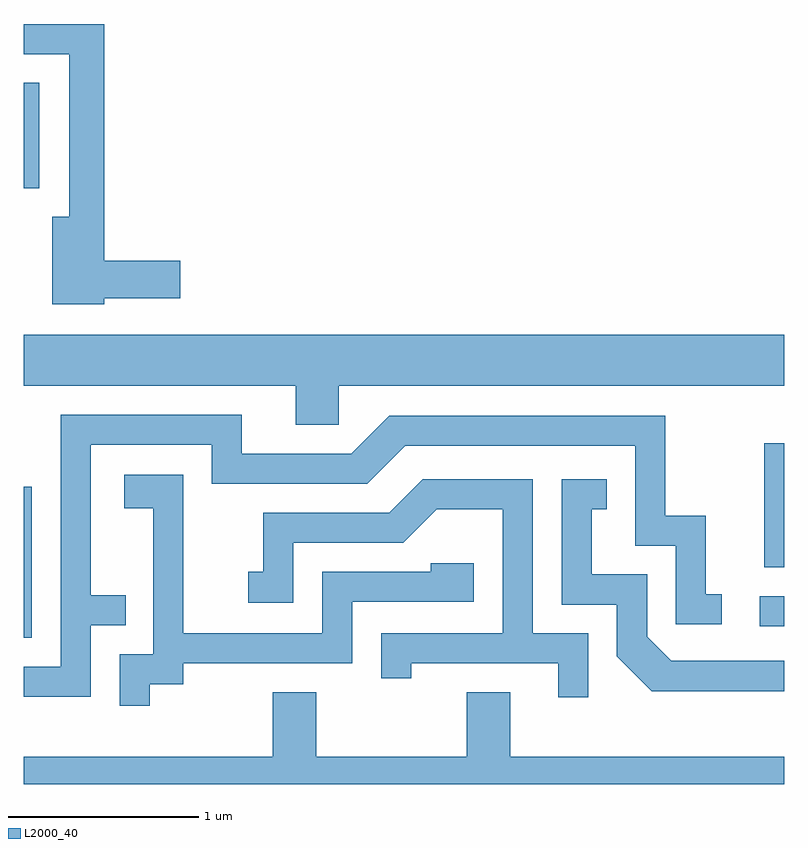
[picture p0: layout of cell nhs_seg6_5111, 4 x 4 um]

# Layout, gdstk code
import gdstk
lib = gdstk.Library(unit=1e-6, precision=1e-09)
def R(c, l, rs):  # rectangles x0, y0, x1, y1
    for r in rs: c.add(gdstk.rectangle(r[:2], r[2:], *l))
def P(c, l, *ps):  # polygons
    for p in ps: c.add(gdstk.Polygon(p, *l))
L2000_40 = (2000, 40)

nhs_seg6_5111 = lib.new_cell('nhs_seg6_5111')
R(nhs_seg6_5111, L2000_40, [(341.611,1550.931,341.654,1551.724), (345.483,1550.991,345.611,1551.149), (345.506,1551.301,345.611,1551.954), (341.611,1553.296,341.694,1553.849)])
P(nhs_seg6_5111, L2000_40, [(342.034,1552.716),(342.434,1552.716),(342.434,1552.914),(342.034,1552.914),(342.034,1554.159),(341.611,1554.159),(341.611,1554.001),(341.851,1554.001),(341.851,1553.144),(341.761,1553.144),(341.761,1552.686),(342.034,1552.686)],
  [(343.269,1552.256),(345.611,1552.256),(345.611,1552.524),(341.611,1552.524),(341.611,1552.256),(343.041,1552.256),(343.041,1552.051),(343.269,1552.051)],
  [(341.964,1550.996),(342.148,1550.996),(342.148,1551.154),(341.964,1551.154),(341.964,1551.946),(342.601,1551.946),(342.601,1551.741),(343.417,1551.741),(343.617,1551.941),(344.826,1551.941),(344.826,1551.416),(345.041,1551.416),(345.041,1551.001),(345.283,1551.001),(345.283,1551.159),(345.199,1551.159),(345.199,1551.574),(344.984,1551.574),(344.984,1552.099),(343.534,1552.099),(343.334,1551.899),(342.759,1551.899),(342.759,1552.104),(341.806,1552.104),(341.806,1550.779),(341.611,1550.779),(341.611,1550.621),(341.964,1550.621)],
  [(342.274,1550.686),(342.449,1550.686),(342.449,1550.796),(343.339,1550.796),(343.339,1551.121),(343.979,1551.121),(343.979,1551.324),(343.751,1551.324),(343.751,1551.279),(343.181,1551.279),(343.181,1550.954),(342.449,1550.954),(342.449,1551.789),(342.141,1551.789),(342.141,1551.611),(342.291,1551.611),(342.291,1550.844),(342.116,1550.844),(342.116,1550.573),(342.274,1550.573)],
  [(345.611,1550.809),(345.017,1550.809),(344.889,1550.937),(344.889,1551.264),(344.599,1551.264),(344.599,1551.606),(344.678,1551.606),(344.678,1551.764),(344.441,1551.764),(344.441,1551.106),(344.731,1551.106),(344.731,1550.834),(344.914,1550.651),(345.611,1550.651)],
  [(344.579,1550.954),(344.289,1550.954),(344.289,1551.764),(343.709,1551.764),(343.534,1551.589),(342.871,1551.589),(342.871,1551.279),(342.793,1551.279),(342.793,1551.116),(343.029,1551.116),(343.029,1551.431),(343.607,1551.431),(343.782,1551.606),(344.131,1551.606),(344.131,1550.954),(343.491,1550.954),(343.491,1550.718),(343.649,1550.718),(343.649,1550.796),(344.421,1550.796),(344.421,1550.618),(344.579,1550.618)],
  [(345.611,1550.304),(344.169,1550.304),(344.169,1550.644),(343.941,1550.644),(343.941,1550.304),(343.149,1550.304),(343.149,1550.644),(342.921,1550.644),(342.921,1550.304),(341.611,1550.304),(341.611,1550.162),(345.611,1550.162)])

lib.write_gds('nhs_seg6_5111.gds')
